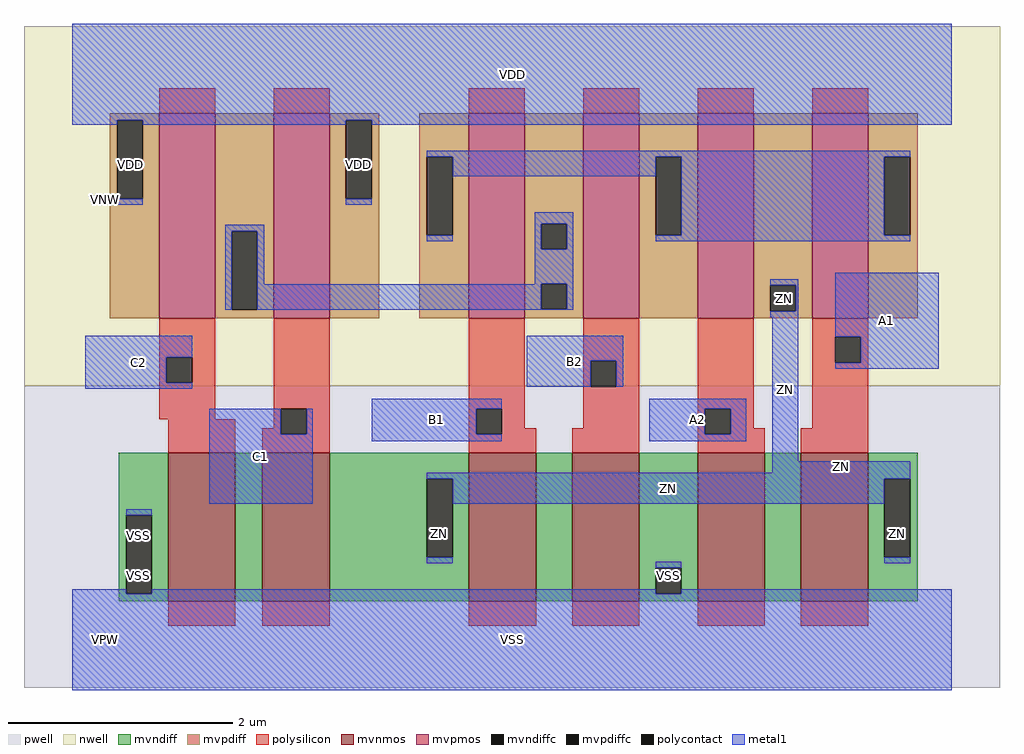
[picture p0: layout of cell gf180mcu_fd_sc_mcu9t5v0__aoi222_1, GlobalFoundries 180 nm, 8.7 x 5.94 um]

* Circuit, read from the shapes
.subckt gf180mcu_fd_sc_mcu9t5v0__aoi222_1 A1 A2 B1 B2 C1 C2 ZN VDD VNW VPW VSS
XM1 n1 C2 VSS VPW nfet_06v0 w=1.32u l=0.6u
XM2 ZN C1 n1 VPW nfet_06v0 w=1.32u l=0.6u
XM3 n2 B1 ZN VPW nfet_06v0 w=1.32u l=0.6u
XM4 VSS B2 n2 VPW nfet_06v0 w=1.32u l=0.6u
XM5 n3 A2 VSS VPW nfet_06v0 w=1.32u l=0.6u
XM6 ZN A1 n3 VPW nfet_06v0 w=1.32u l=0.6u
XM7 n4 C2 VDD VNW pfet_06v0 w=1.83u l=0.5u
XM8 VDD C1 n4 VNW pfet_06v0 w=1.83u l=0.5u
XM9 n4 B1 n5 VNW pfet_06v0 w=1.83u l=0.5u
XM10 n5 B2 n4 VNW pfet_06v0 w=1.83u l=0.5u
XM11 ZN A2 n5 VNW pfet_06v0 w=1.83u l=0.5u
XM12 n5 A1 ZN VNW pfet_06v0 w=1.83u l=0.5u
.ends

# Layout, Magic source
magic
tech gf180mcuD
magscale 1 10
<< nwell >>
rect -86 453 1654 1094
<< pwell >>
rect -86 -86 1654 453
<< mvnmos >>
rect 171 69 291 333
rect 339 69 459 333
rect 707 69 827 333
rect 891 69 1011 333
rect 1115 69 1235 333
rect 1299 69 1419 333
<< mvpmos >>
rect 155 573 255 939
rect 359 573 459 939
rect 707 573 807 939
rect 911 573 1011 939
rect 1115 573 1215 939
rect 1319 573 1419 939
<< mvndiff >>
rect 83 222 171 333
rect 83 82 96 222
rect 142 82 171 222
rect 83 69 171 82
rect 291 69 339 333
rect 459 287 707 333
rect 459 147 632 287
rect 678 147 707 287
rect 459 69 707 147
rect 827 69 891 333
rect 1011 128 1115 333
rect 1011 82 1040 128
rect 1086 82 1115 128
rect 1011 69 1115 82
rect 1235 69 1299 333
rect 1419 287 1507 333
rect 1419 147 1448 287
rect 1494 147 1507 287
rect 1419 69 1507 147
<< mvpdiff >>
rect 67 926 155 939
rect 67 786 80 926
rect 126 786 155 926
rect 67 573 155 786
rect 255 728 359 939
rect 255 588 284 728
rect 330 588 359 728
rect 255 573 359 588
rect 459 926 547 939
rect 459 786 488 926
rect 534 786 547 926
rect 459 573 547 786
rect 619 861 707 939
rect 619 721 632 861
rect 678 721 707 861
rect 619 573 707 721
rect 807 742 911 939
rect 807 696 836 742
rect 882 696 911 742
rect 807 635 911 696
rect 807 589 836 635
rect 882 589 911 635
rect 807 573 911 589
rect 1011 861 1115 939
rect 1011 721 1040 861
rect 1086 721 1115 861
rect 1011 573 1115 721
rect 1215 632 1319 939
rect 1215 586 1244 632
rect 1290 586 1319 632
rect 1215 573 1319 586
rect 1419 861 1507 939
rect 1419 721 1448 861
rect 1494 721 1507 861
rect 1419 573 1507 721
<< mvndiffc >>
rect 96 82 142 222
rect 632 147 678 287
rect 1040 82 1086 128
rect 1448 147 1494 287
<< mvpdiffc >>
rect 80 786 126 926
rect 284 588 330 728
rect 488 786 534 926
rect 632 721 678 861
rect 836 696 882 742
rect 836 589 882 635
rect 1040 721 1086 861
rect 1244 586 1290 632
rect 1448 721 1494 861
<< polysilicon >>
rect 155 939 255 983
rect 359 939 459 983
rect 707 939 807 983
rect 911 939 1011 983
rect 1115 939 1215 983
rect 1319 939 1419 983
rect 155 504 255 573
rect 155 458 168 504
rect 214 458 255 504
rect 155 393 255 458
rect 359 412 459 573
rect 171 333 291 393
rect 359 377 372 412
rect 339 366 372 377
rect 418 366 459 412
rect 339 333 459 366
rect 707 412 807 573
rect 707 366 720 412
rect 766 377 807 412
rect 911 497 1011 573
rect 911 451 924 497
rect 970 451 1011 497
rect 911 377 1011 451
rect 766 366 827 377
rect 707 333 827 366
rect 891 333 1011 377
rect 1115 412 1215 573
rect 1115 366 1128 412
rect 1174 377 1215 412
rect 1319 540 1419 573
rect 1319 494 1360 540
rect 1406 494 1419 540
rect 1319 377 1419 494
rect 1174 366 1235 377
rect 1115 333 1235 366
rect 1299 333 1419 377
rect 171 25 291 69
rect 339 25 459 69
rect 707 25 827 69
rect 891 25 1011 69
rect 1115 25 1235 69
rect 1299 25 1419 69
<< polycontact >>
rect 168 458 214 504
rect 372 366 418 412
rect 720 366 766 412
rect 924 451 970 497
rect 1128 366 1174 412
rect 1360 494 1406 540
<< metal1 >>
rect 0 926 1568 1098
rect 0 918 80 926
rect 126 918 488 926
rect 80 775 126 786
rect 534 918 1568 926
rect 488 775 534 786
rect 632 861 1494 872
rect 273 728 342 740
rect 273 588 284 728
rect 330 634 342 728
rect 678 826 1040 861
rect 632 710 678 721
rect 825 742 893 762
rect 825 696 836 742
rect 882 696 893 742
rect 1086 721 1448 861
rect 1040 710 1494 721
rect 825 635 893 696
rect 825 634 836 635
rect 330 589 836 634
rect 882 589 893 635
rect 330 588 893 589
rect 1244 632 1294 643
rect 1290 586 1294 632
rect 1244 575 1294 586
rect 23 504 214 542
rect 23 458 168 504
rect 23 447 214 458
rect 810 497 982 542
rect 810 451 924 497
rect 970 451 982 497
rect 534 412 766 430
rect 244 366 372 412
rect 418 366 429 412
rect 244 242 429 366
rect 534 366 720 412
rect 534 354 766 366
rect 1029 412 1202 430
rect 1029 366 1128 412
rect 1174 366 1202 412
rect 1029 354 1202 366
rect 1248 318 1294 575
rect 1360 540 1545 654
rect 1406 494 1545 540
rect 1360 483 1545 494
rect 1248 298 1494 318
rect 632 287 1494 298
rect 96 222 142 233
rect 0 82 96 90
rect 678 242 1448 287
rect 632 136 678 147
rect 1040 128 1086 139
rect 1448 136 1494 147
rect 142 82 1040 90
rect 1086 82 1568 90
rect 0 -90 1568 82
<< labels >>
flabel metal1 s 1360 483 1545 654 0 FreeSans 200 0 0 0 A1
port 1 nsew default input
flabel metal1 s 1029 354 1202 430 0 FreeSans 200 0 0 0 A2
port 2 nsew default input
flabel metal1 s 534 354 766 430 0 FreeSans 200 0 0 0 B1
port 3 nsew default input
flabel metal1 s 810 451 982 542 0 FreeSans 200 0 0 0 B2
port 4 nsew default input
flabel metal1 s 244 242 429 412 0 FreeSans 200 0 0 0 C1
port 5 nsew default input
flabel metal1 s 23 447 214 542 0 FreeSans 200 0 0 0 C2
port 6 nsew default input
flabel metal1 s 0 918 1568 1098 0 FreeSans 200 0 0 0 VDD
port 8 nsew power bidirectional abutment
flabel metal1 s 96 139 142 233 0 FreeSans 200 0 0 0 VSS
port 11 nsew ground bidirectional abutment
flabel metal1 s 1244 575 1294 643 0 FreeSans 200 0 0 0 ZN
port 7 nsew default output
flabel nwell s 10 734 110 834 0 FreeSans 400 0 0 0 VNW
port 9 nsew power bidirectional
flabel pwell s 10 -50 110 50 0 FreeSans 400 0 0 0 VPW
port 10 nsew ground bidirectional
rlabel metal1 s 1248 318 1294 575 1 ZN
port 7 nsew default output
rlabel metal1 s 1248 298 1494 318 1 ZN
port 7 nsew default output
rlabel metal1 s 632 242 1494 298 1 ZN
port 7 nsew default output
rlabel metal1 s 1448 136 1494 242 1 ZN
port 7 nsew default output
rlabel metal1 s 632 136 678 242 1 ZN
port 7 nsew default output
rlabel metal1 s 488 775 534 918 1 VDD
port 8 nsew power bidirectional abutment
rlabel metal1 s 80 775 126 918 1 VDD
port 8 nsew power bidirectional abutment
rlabel metal1 s 1040 90 1086 139 1 VSS
port 11 nsew ground bidirectional abutment
rlabel metal1 s 96 90 142 139 1 VSS
port 11 nsew ground bidirectional abutment
rlabel metal1 s 0 -90 1568 90 1 VSS
port 11 nsew ground bidirectional abutment
<< properties >>
string FIXED_BBOX 0 0 1568 1008
string GDS_END 1240408
string GDS_FILE $PDKPATH/libs.ref/gf180mcu_fd_sc_mcu9t5v0/gds/gf180mcu_fd_sc_mcu9t5v0.gds
string GDS_START 1235484
string LEFclass core
string LEFsite GF018hv5v_green_sc9
string LEFsymmetry X Y
<< end >>
